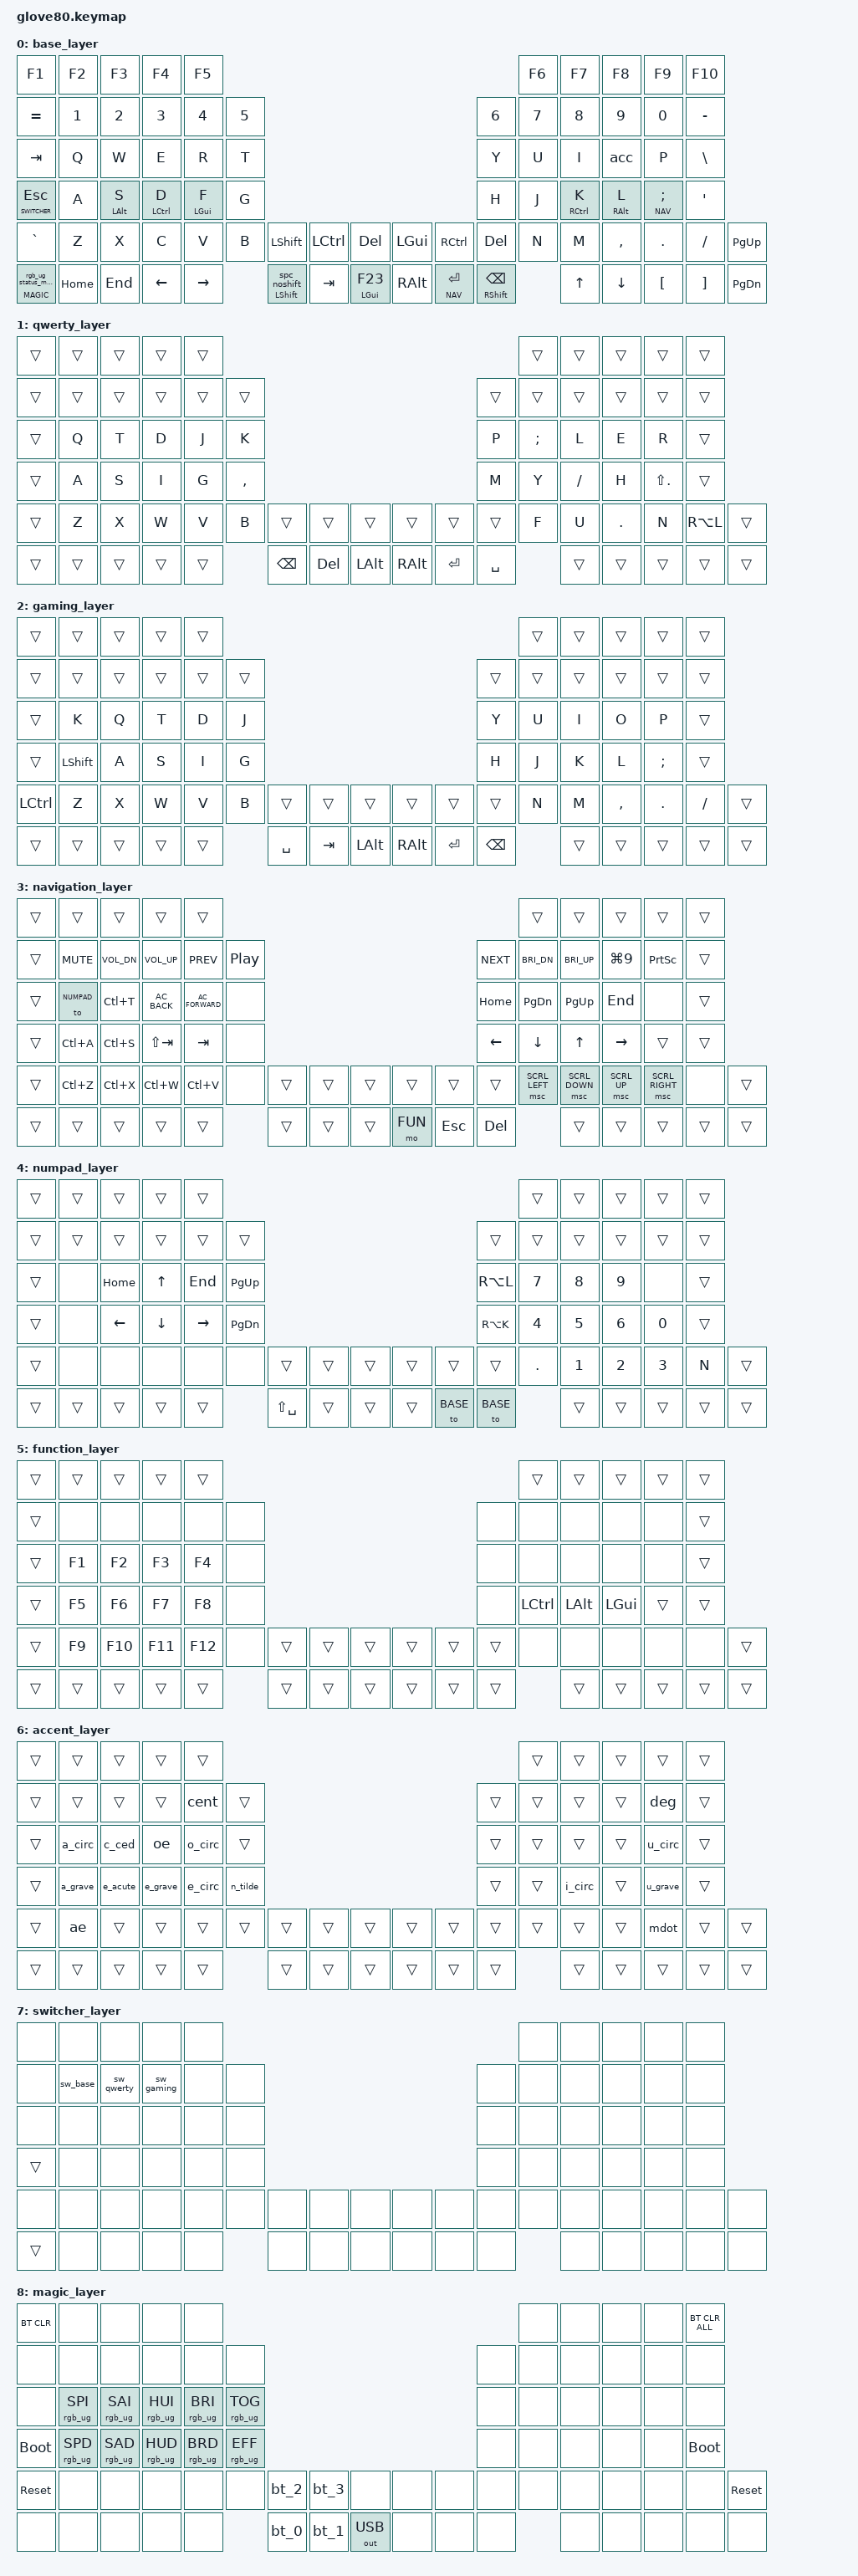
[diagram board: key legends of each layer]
/*
 * Glove80 keymap: the same keyboard as the kanata config in
 * modules/nixos/system/kanata (Arsenik thumbs + home-row mods on an Ergo-L
 * host), done in firmware. The host layout stays fr(ergol): every binding
 * below is a physical (QWERTY-position) key, exactly like kanata's aliases,
 * and the OS turns it into Ergo-L. Keep both in sync: each layer names the
 * .kbd file it mirrors.
 *
 * kanata tap-hold-release ~ ZMK "balanced"; its tap_timeout (repeat window)
 * is quick-tap-ms, its hold timeout tapping-term-ms.
 */

#include <behaviors.dtsi>
#include <dt-bindings/zmk/keys.h>
#include <dt-bindings/zmk/bt.h>
#include <dt-bindings/zmk/outputs.h>
#include <dt-bindings/zmk/rgb.h>
#include <dt-bindings/zmk/pointing.h>

#define BASE 0
#define QWERTY 1
#define GAMING 2
#define NAV 3
#define NUMPAD 4
#define FUN 5
#define ACCENT 6
#define SWITCHER 7
#define MAGIC 8

#define TAP_TIMEOUT 250
#define HOLD_TIMEOUT 250
#define LONG_HOLD_TIMEOUT 300

// Two taps in a row, for the accent compositions (dead key, then letter).
#define TAP2(name, a, b) \
    ZMK_MACRO(name, wait-ms = <0>; tap-ms = <20>; bindings = <&kp a &kp b>;)
#define TAP3(name, a, b, c) \
    ZMK_MACRO(name, wait-ms = <0>; tap-ms = <20>; bindings = <&kp a &kp b &kp c>;)

/ {
    behaviors {
        // Thumb mod-tap (Bspc/Shift): modifier when held, key when tapped.
        th: thumb_hold_tap {
            compatible = "zmk,behavior-hold-tap";
            #binding-cells = <2>;
            flavor = "balanced";
            tapping-term-ms = <HOLD_TIMEOUT>;
            quick-tap-ms = <TAP_TIMEOUT>;
            bindings = <&kp>, <&kp>;
        };

        // @ssp: Shift when held, unshifted Space when tapped (fr(ergol) maps
        // Shift+Space to a narrow no-break space, wanted only via @nbs).
        ssp: space_shift {
            compatible = "zmk,behavior-hold-tap";
            #binding-cells = <2>;
            flavor = "balanced";
            tapping-term-ms = <HOLD_TIMEOUT>;
            quick-tap-ms = <TAP_TIMEOUT>;
            bindings = <&kp>, <&spc_noshift>;
        };

        // Enter/Nav, @esw: layer when held, key when tapped.
        ltb: layer_tap_balanced {
            compatible = "zmk,behavior-hold-tap";
            #binding-cells = <2>;
            flavor = "balanced";
            tapping-term-ms = <HOLD_TIMEOUT>;
            quick-tap-ms = <TAP_TIMEOUT>;
            bindings = <&mo>, <&kp>;
        };

        // @nav on the right pinky: slower, it is also a typing key.
        ltn: layer_tap_nav {
            compatible = "zmk,behavior-hold-tap";
            #binding-cells = <2>;
            flavor = "balanced";
            tapping-term-ms = <LONG_HOLD_TIMEOUT>;
            quick-tap-ms = <TAP_TIMEOUT>;
            bindings = <&mo>, <&kp>;
        };

        // Home-row mods. require-prior-idle-ms has no kanata counterpart: a
        // key pressed mid-word is always a letter, which kanata gets from
        // tap-hold-release alone but ZMK needs spelled out.
        hrm: home_row_mod {
            compatible = "zmk,behavior-hold-tap";
            #binding-cells = <2>;
            flavor = "balanced";
            tapping-term-ms = <LONG_HOLD_TIMEOUT>;
            quick-tap-ms = <TAP_TIMEOUT>;
            require-prior-idle-ms = <150>;
            bindings = <&kp>, <&kp>;
        };

        // @met: Super held or in a combo, a clean tap is F23 (niri overview).
        met: super_f23 {
            compatible = "zmk,behavior-hold-tap";
            #binding-cells = <2>;
            flavor = "hold-preferred";
            tapping-term-ms = <HOLD_TIMEOUT>;
            bindings = <&kp>, <&kp>;
        };

        spc_noshift: space_noshift {
            compatible = "zmk,behavior-mod-morph";
            #binding-cells = <0>;
            bindings = <&kp SPACE>, <&kp SPACE>;
            mods = <(MOD_LSFT|MOD_RSFT)>;
        };

        // One-shot accent layer (kanata: one-shot 500 (layer-while-held accent)).
        // Held, it stays on for as long as it is held.
        sl_acc: sticky_accent {
            compatible = "zmk,behavior-sticky-key";
            #binding-cells = <1>;
            release-after-ms = <500>;
            bindings = <&mo>;
            quick-release;
            ignore-modifiers;
        };

        // ★ (physical 'o'): a bare press arms the accent layer; with Shift
        // (!) or AltGr (') down the key passes through untouched.
        // See defalias/ergol_accent.kbd for why ★ is not left to XKB.
        acc: ergol_star {
            compatible = "zmk,behavior-mod-morph";
            #binding-cells = <0>;
            bindings = <&sl_acc ACCENT>, <&kp O>;
            mods = <(MOD_LSFT|MOD_RSFT|MOD_RALT)>;
            keep-mods = <(MOD_LSFT|MOD_RSFT|MOD_RALT)>;
        };

        // ★+. = middle dot; with Shift the plain key passes through.
        mdot: middle_dot {
            compatible = "zmk,behavior-mod-morph";
            #binding-cells = <0>;
            bindings = <&mdot_compose>, <&kp DOT>;
            mods = <(MOD_LSFT|MOD_RSFT)>;
            keep-mods = <(MOD_LSFT|MOD_RSFT)>;
        };

        magic: magic_hold_tap {
            compatible = "zmk,behavior-hold-tap";
            #binding-cells = <2>;
            flavor = "tap-preferred";
            tapping-term-ms = <200>;
            bindings = <&mo>, <&rgb_ug_status_macro>;
        };
    };

    macros {
        // Backlight only on the gaming layer: entering it sets solid white at
        // 16 % and turns the underglow on; the other base layers turn it off.
        sw_base: switch_base {
            compatible = "zmk,behavior-macro";
            #binding-cells = <0>;
            wait-ms = <0>; tap-ms = <20>;
            bindings = <&to BASE &rgb_ug RGB_OFF>;
        };
        sw_qwerty: switch_qwerty {
            compatible = "zmk,behavior-macro";
            #binding-cells = <0>;
            wait-ms = <0>; tap-ms = <20>;
            bindings = <&to QWERTY &rgb_ug RGB_OFF>;
        };
        sw_gaming: switch_gaming {
            compatible = "zmk,behavior-macro";
            #binding-cells = <0>;
            wait-ms = <0>; tap-ms = <20>;
            bindings = <&to GAMING &rgb_ug RGB_COLOR_HSB(0,0,16) &rgb_ug RGB_ON>;
        };

        // Accent compositions, as in defalias/ergol_accent.kbd: AltGr+Shift
        // on fr(ergol)'s real dead-key carrier, then the physical key that
        // types the base letter at level 1 (é = dead_acute + e = physical d).
        TAP2(a_grave, RA(LS(P)), A)
        TAP2(e_acute, RA(LS(O)), D)
        TAP2(e_grave, RA(LS(P)), D)
        TAP2(e_circ, RA(LS(Q)), D)
        TAP2(n_tilde, RA(LS(Z)), F)
        TAP2(i_circ, RA(LS(Q)), L)
        TAP2(u_grave, RA(LS(P)), SEMI)
        TAP2(a_circ, RA(LS(Q)), A)
        TAP2(c_ced, RA(LS(COMMA)), W)
        TAP2(o_circ, RA(LS(Q)), E)
        TAP2(u_circ, RA(LS(Q)), SEMI)
        TAP2(deg, RA(LS(Y)), SPACE)
        TAP2(cent, RA(LS(R)), W)
        TAP2(mdot_compose, RA(LS(Q)), N)
        // Pause is Multi_key (xkb option compose:paus).
        TAP3(oe, PAUSE_BREAK, E, D)
        TAP3(ae, PAUSE_BREAK, A, D)

        rgb_ug_status_macro: rgb_ug_status_macro_0 {
            compatible = "zmk,behavior-macro";
            #binding-cells = <0>;
            bindings = <&rgb_ug RGB_STATUS>;
        };
        bt_0: bt_profile_macro_0 {
            compatible = "zmk,behavior-macro";
            #binding-cells = <0>;
            bindings = <&out OUT_BLE>, <&bt BT_SEL 0>;
        };
        bt_1: bt_profile_macro_1 {
            compatible = "zmk,behavior-macro";
            #binding-cells = <0>;
            bindings = <&out OUT_BLE>, <&bt BT_SEL 1>;
        };
        bt_2: bt_profile_macro_2 {
            compatible = "zmk,behavior-macro";
            #binding-cells = <0>;
            bindings = <&out OUT_BLE>, <&bt BT_SEL 2>;
        };
        bt_3: bt_profile_macro_3 {
            compatible = "zmk,behavior-macro";
            #binding-cells = <0>;
            bindings = <&out OUT_BLE>, <&bt BT_SEL 3>;
        };
    };

    keymap {
        compatible = "zmk,keymap";

        // deflayer/base_lt_hrm.kbd. Thumbs, outer to inner (unlike the
        // laptop, Backspace is Shift on the right thumb, Alt is only on S):
        //   left  lower: Space/Shift  Tab        F23/Super
        //   right lower: Bspc/Shift   Enter/Nav  AltGr
        // Upper thumb rows keep the Glove80 defaults, except Del on the inner
        // left and the outer right (above Bspc).
        // Esc (tap) / layer switcher (hold) sits on the Glove80 Esc key.
        base_layer {
            bindings = <
            &kp F1             &kp F2   &kp F3           &kp F4           &kp F5                                                                                                   &kp F6  &kp F7  &kp F8            &kp F9            &kp F10
            &kp EQUAL          &kp N1   &kp N2           &kp N3           &kp N4           &kp N5                                                                          &kp N6  &kp N7  &kp N8  &kp N9            &kp N0            &kp MINUS
            &kp TAB            &kp Q    &kp W            &kp E            &kp R            &kp T                                                                           &kp Y   &kp U   &kp I   &acc              &kp P             &kp BSLH
            &ltb SWITCHER ESC  &kp A    &hrm LALT S      &hrm LCTRL D     &hrm LGUI F      &kp G                                                                           &kp H   &kp J   &hrm RCTRL K      &hrm RALT L       &ltn NAV SEMI     &kp SQT
            &kp GRAVE          &kp Z    &kp X            &kp C            &kp V            &kp B   &kp LSHFT      &kp LCTRL     &kp DEL       &kp LGUI  &kp RCTRL      &kp DEL         &kp N   &kp M   &kp COMMA         &kp DOT           &kp FSLH          &kp PG_UP
            &magic MAGIC 0     &kp HOME &kp END          &kp LEFT         &kp RIGHT                &ssp LSHFT 0   &kp TAB       &met LGUI F23 &kp RALT  &ltb NAV RET   &th RSHFT BSPC          &kp UP  &kp DOWN          &kp LBKT          &kp RBKT          &kp PG_DN
            >;
        };

        // deflayer/switcher.kbd: QWERTY emulation on an Ergo-L host.
        qwerty_layer {
            bindings = <
            &trans  &trans  &trans  &trans  &trans                                                                          &trans  &trans  &trans  &trans  &trans
            &trans  &trans  &trans  &trans  &trans  &trans                                                          &trans  &trans  &trans  &trans  &trans  &trans
            &trans  &kp Q   &kp T   &kp D   &kp J   &kp K                                                           &kp P   &kp SEMI &kp L  &kp E   &kp R   &trans
            &trans  &kp A   &kp S   &kp I   &kp G   &kp COMMA                                                       &kp M   &kp Y   &kp FSLH &kp H  &kp LS(DOT) &trans
            &trans  &kp Z   &kp X   &kp W   &kp V   &kp B   &trans   &trans   &trans     &trans   &trans   &trans   &kp F   &kp U   &kp DOT &kp N   &kp RA(L) &trans
            &trans  &trans  &trans  &trans  &trans          &kp BSPC &kp DEL  &kp LALT   &kp RALT &kp RET  &kp SPACE         &trans  &trans  &trans  &trans  &trans
            >;
        };

        // Glove80-only (no kanata twin): games. The host types w/a/s/d under
        // the Ergo-L o/s/e/n inverted-T, so each position sends the physical
        // key whose Ergo-L letter is wanted (o -> w, s -> a, e -> s, n -> d;
        // neighbours q/e/r/f/c, same trick as qwerty_layer). Games reading
        // keysyms (not scancodes) see WASD. No mod-tap, layer-tap or combo,
        // except Esc staying the switcher key so Esc + 3/4 toggles it off.
        gaming_layer {
            bindings = <
            &trans  &trans  &trans  &trans  &trans                                                                          &trans  &trans  &trans  &trans  &trans
            &trans  &trans  &trans  &trans  &trans  &trans                                                          &trans  &trans  &trans  &trans  &trans  &trans
            &trans  &kp K   &kp Q   &kp T   &kp D   &kp J                                                           &kp Y   &kp U   &kp I   &kp O   &kp P   &trans
            &trans  &kp LSHFT &kp A &kp S   &kp I   &kp G                                                           &kp H   &kp J   &kp K   &kp L   &kp SEMI &trans
            &kp LCTRL &kp Z &kp X   &kp W   &kp V   &kp B   &trans   &trans   &trans     &trans   &trans   &trans   &kp N   &kp M   &kp COMMA &kp DOT &kp FSLH &trans
            &trans  &trans  &trans  &trans  &trans          &kp SPACE &kp TAB &kp LALT   &kp RALT &kp RET  &kp BSPC         &trans  &trans  &trans  &trans  &trans
            >;
        };

        // deflayer/navigation_vim.kbd (hold the right pinky). The inner
        // right thumb holds the function keys.
        navigation_layer {
            bindings = <
            &trans  &trans      &trans        &trans       &trans          &trans                                                                                  &trans                &trans           &trans        &trans
            &trans  &kp C_MUTE  &kp C_VOL_DN  &kp C_VOL_UP &kp C_PREV      &kp C_PP                                                         &kp C_NEXT        &kp C_BRI_DN         &kp C_BRI_UP     &kp LG(N9)    &kp PSCRN     &trans
            &trans  &to NUMPAD  &kp LC(T)     &kp C_AC_BACK &kp C_AC_FORWARD &none                                                          &kp HOME          &kp PG_DN            &kp PG_UP        &kp END       &none         &trans
            &trans  &kp LC(A)   &kp LC(S)     &kp LS(TAB)  &kp TAB         &none                                                            &kp LEFT          &kp DOWN             &kp UP           &kp RIGHT     &trans        &trans
            &trans  &kp LC(Z)   &kp LC(X)     &kp LC(W)    &kp LC(V)       &none   &trans  &trans   &trans   &trans  &trans  &trans          &msc SCRL_LEFT    &msc SCRL_DOWN       &msc SCRL_UP     &msc SCRL_RIGHT &none       &trans
            &trans  &trans      &trans        &trans       &trans                  &trans  &trans   &trans   &mo FUN &kp ESC &kp DEL                         &trans               &trans           &trans        &trans        &trans
            >;
        };

        // deflayer/navigation_vim.kbd: numpad (locked, the Enter or Bspc
        // thumb goes back to base).
        numpad_layer {
            bindings = <
            &trans  &trans    &trans    &trans     &trans                                                                                        &trans  &trans  &trans  &trans  &trans
            &trans  &trans    &trans    &trans     &trans     &trans                                                                 &trans     &trans  &trans  &trans  &trans  &trans
            &trans  &none     &kp HOME  &kp UP     &kp END    &kp PG_UP                                                              &kp RA(L)  &kp N7  &kp N8  &kp N9  &none   &trans
            &trans  &none     &kp LEFT  &kp DOWN   &kp RIGHT  &kp PG_DN                                                              &kp RA(K)  &kp N4  &kp N5  &kp N6  &kp N0  &trans
            &trans  &none     &none     &none      &none      &none     &trans         &trans    &trans   &trans  &trans         &trans    &kp DOT    &kp N1  &kp N2  &kp N3  &kp N   &trans
            &trans  &trans    &trans    &trans     &trans               &kp LS(SPACE)  &trans    &trans   &trans  &to BASE       &to BASE            &trans  &trans  &trans  &trans  &trans
            >;
        };

        // deflayer/navigation_vim.kbd: function keys.
        function_layer {
            bindings = <
            &trans  &trans  &trans  &trans  &trans                                                                          &trans  &trans     &trans    &trans    &trans
            &trans  &none   &none   &none   &none   &none                                                           &none   &none   &none      &none     &none     &trans
            &trans  &kp F1  &kp F2  &kp F3  &kp F4  &none                                                           &none   &none   &none      &none     &none     &trans
            &trans  &kp F5  &kp F6  &kp F7  &kp F8  &none                                                           &none   &kp LCTRL &kp LALT &kp LGUI  &trans    &trans
            &trans  &kp F9  &kp F10 &kp F11 &kp F12 &none   &trans  &trans  &trans     &trans  &trans  &trans       &none   &none   &none      &none     &none     &trans
            &trans  &trans  &trans  &trans  &trans          &trans  &trans  &trans     &trans  &trans  &trans               &trans  &trans     &trans    &trans    &trans
            >;
        };

        // deflayer/accent.kbd: one key after ★.
        accent_layer {
            bindings = <
            &trans  &trans    &trans    &trans    &trans                                                                            &trans  &trans  &trans   &trans    &trans
            &trans  &trans    &trans    &trans    &cent     &trans                                                          &trans  &trans  &trans  &trans   &deg      &trans
            &trans  &a_circ   &c_ced    &oe       &o_circ   &trans                                                          &trans  &trans  &trans  &trans   &u_circ   &trans
            &trans  &a_grave  &e_acute  &e_grave  &e_circ   &n_tilde                                                        &trans  &trans  &i_circ &trans   &u_grave  &trans
            &trans  &ae       &trans    &trans    &trans    &trans    &trans  &trans  &trans     &trans  &trans  &trans       &trans  &trans  &trans  &mdot    &trans    &trans
            &trans  &trans    &trans    &trans    &trans              &trans  &trans  &trans     &trans  &trans  &trans               &trans  &trans  &trans   &trans    &trans
            >;
        };

        // deflayer/switcher.kbd: hold Esc, then 1 base, 2 qwerty, 3 gaming (backlight on); 1/2 leave it (backlight off).
        switcher_layer {
            bindings = <
            &none   &none     &none       &none      &none                                                                       &none   &none   &none   &none   &none
            &none   &sw_base  &sw_qwerty  &sw_gaming  &none  &none                                                    &none   &none   &none   &none   &none   &none
            &none   &none     &none       &none      &none      &none                                                    &none   &none   &none   &none   &none   &none
            &trans  &none     &none       &none      &none      &none                                                    &none   &none   &none   &none   &none   &none
            &none   &none     &none       &none      &none      &none   &none   &none   &none     &none   &none   &none    &none   &none   &none   &none   &none   &none
            &trans  &none     &none       &none      &none              &none   &none   &none     &none   &none   &none            &none   &none   &none   &none   &none
            >;
        };

        // Glove80 default magic layer (Bluetooth, RGB, bootloader), minus
        // the factory test layer.
        magic_layer {
            bindings = <
            &bt BT_CLR   &none            &none            &none            &none                                                                                     &none  &none  &none  &none  &bt BT_CLR_ALL
            &none        &none            &none            &none            &none            &none                                                             &none  &none  &none  &none  &none  &none
            &none        &rgb_ug RGB_SPI  &rgb_ug RGB_SAI  &rgb_ug RGB_HUI  &rgb_ug RGB_BRI  &rgb_ug RGB_TOG                                                   &none  &none  &none  &none  &none  &none
            &bootloader  &rgb_ug RGB_SPD  &rgb_ug RGB_SAD  &rgb_ug RGB_HUD  &rgb_ug RGB_BRD  &rgb_ug RGB_EFF                                                   &none  &none  &none  &none  &none  &bootloader
            &sys_reset   &none            &none            &none            &none            &none            &bt_2   &bt_3   &none          &none  &none  &none     &none  &none  &none  &none  &none  &sys_reset
            &none        &none            &none            &none            &none                             &bt_0   &bt_1   &out OUT_USB   &none  &none  &none            &none  &none  &none  &none  &none
            >;
        };
    };
};
